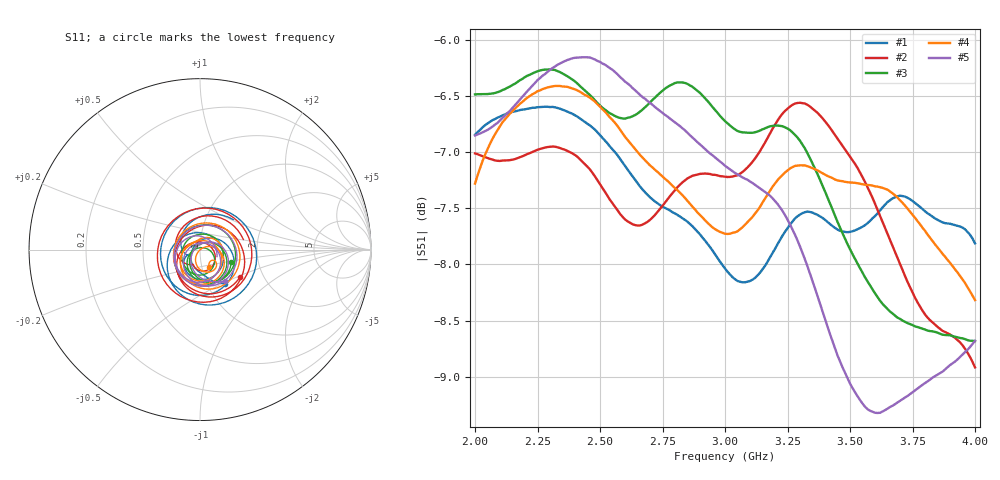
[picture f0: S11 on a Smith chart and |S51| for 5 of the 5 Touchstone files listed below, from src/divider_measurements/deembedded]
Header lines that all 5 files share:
! Created with skrf 1.8.0 (http://scikit-rf.org).
# Hz S RI R 50.0
!freq ReS11 ImS11 ReS12 ImS12 ReS13 ImS13
! ReS14 ImS14 ReS15 ImS15
! ReS21 ImS21 ReS22 ImS22 ReS23 ImS23
! ReS24 ImS24 ReS25 ImS25
! ReS31 ImS31 ReS32 ImS32 ReS33 ImS33
! ReS34 ImS34 ReS35 ImS35
! ReS41 ImS41 ReS42 ImS42 ReS43 ImS43
! ReS44 ImS44 ReS45 ImS45
! ReS51 ImS51 ReS52 ImS52 ReS53 ImS53
! ReS54 ImS54 ReS55 ImS55
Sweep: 2 GHz to 4 GHz
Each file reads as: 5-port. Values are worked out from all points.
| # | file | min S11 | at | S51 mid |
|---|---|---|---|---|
| 1 | 00000000.s5p | -28.2 dB | 2.33 GHz | -8.0 dB at 3 GHz |
| 2 | 00010203.s5p | -27.0 dB | 3.25 GHz | -7.2 dB at 3 GHz |
| 3 | 00020406.s5p | -39.4 dB | 3.21 GHz | -6.7 dB at 3 GHz |
| 4 | 00040812.s5p | -42.8 dB | 2.33 GHz | -7.7 dB at 3 GHz |
| 5 | 00051015.s5p | -31.8 dB | 2.26 GHz | -7.1 dB at 3 GHz |
